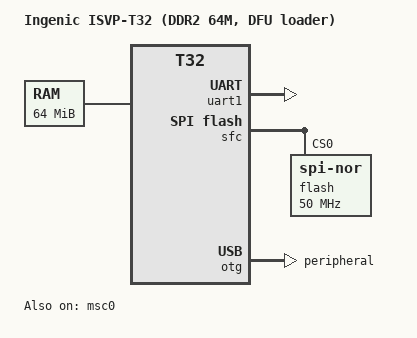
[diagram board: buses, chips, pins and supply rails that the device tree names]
// SPDX-License-Identifier: GPL-2.0+
/*
 * Ingenic ISVP-T32, DFU/USB-boot loader variant.
 *
 * Identical to t32-isvp.dts except the DWC2 OTG is dr_mode =
 * "peripheral" so the dwc2_udc_otg gadget binds (dwc2_udc_otg_bind
 * rejects "host"). Used only by isvp_t32_usbboot_defconfig - the
 * dev/flash loader that USB-boots and auto-enters DFU. Production
 * NOR uses t32-isvp.dts (dr_mode="host" for USB host).
 *
 * Memory: 64 MB - matches the LQ/VL/ZL M14D5121632A DDR2 default
 * (T32_DDR_SIZE in t32-ddr.h). 128 MB / 256 MB DDR3 variants
 * would need their own DFU DT + defconfig pair.
 */

/dts-v1/;

#include <dt-bindings/gpio/gpio.h>
#include "t32.dtsi"

/ {
	compatible = "ingenic,isvp-t32", "ingenic,t32";
	model = "Ingenic ISVP-T32 (DDR2 64M, DFU loader)";

	aliases {
		serial1 = &uart1;
	};

	chosen {
		stdout-path = "serial1:115200n8";
	};

	memory {
		device_type = "memory";
		reg = <0x0 0x04000000>;	/* 64 MB DDR2 (M14D5121632A) */
	};
};

&uart1 {
	status = "okay";
};

&sfc {
	status = "okay";

	flash@0 {
		compatible = "jedec,spi-nor";
		reg = <0>;
		spi-max-frequency = <50000000>;
	};
};

&msc0 {
	status = "okay";
};

&otg {
	status = "okay";
	dr_mode = "peripheral";		/* gadget bind for DFU/g_dnl */
};
